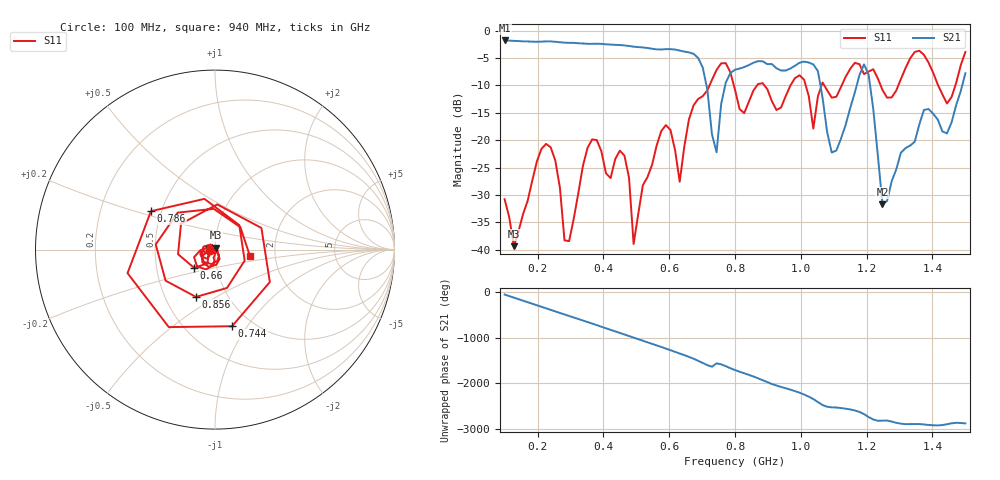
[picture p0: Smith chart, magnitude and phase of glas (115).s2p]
! NanoVNA-App
! Date: 2025-09-25 17:39:40
! Start: 100MHz Stop: 1,5GHz Points: 101
! S-Parameter data: F S11 S21 S12 S22
# Hz S RI R 50
!  Frequency  S11_Real  S11_Imag  S21_Real  S21_Imag  S12_Real  S12_Imag  S22_Real  S22_Imag
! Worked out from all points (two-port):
!   101 points, 100 MHz to 1.5 GHz, reference 50 ohm
!   highest |S21| = -1.80 dB at 100 MHz (marker M1); lowest = -31.7 dB at 1.248 GHz (marker M2)
!   |S21| within 3 dB of the highest: start of sweep to 684.6 MHz
!   lowest |S11| = -39.4 dB at 128 MHz (marker M3), VSWR 1.02, Z = 50.3 + j1.03 ohm
!   |S11| at or under -10 dB: start of sweep to 722.6 MHz; 796.5 MHz to 867.1 MHz (70.56 MHz wide, 8.48 % of centre); 889.3 MHz to 968.6 MHz (79.29 MHz wide, 8.54 % of centre)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
!   S12 and S22 are empty: the file has one direction only
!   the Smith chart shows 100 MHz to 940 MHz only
!   S11 on the Smith chart (normalised r, x): 100 MHz: 0.94, -0.01; 660 MHz: 0.78, -0.16; 744 MHz: 0.81, -0.85; 786 MHz: 0.44, +0.23; 856 MHz: 0.71, -0.41; 940 MHz: 1.48, -0.12
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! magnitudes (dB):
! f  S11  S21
! 100 MHz  -30.8  -1.8
! 128 MHz  -39.4  -1.9
! 212 MHz  -21.6  -2.0
! 282 MHz  -38.3  -2.2
! 338 MHz  -24.7  -2.3
! 464 MHz  -22.8  -2.7
! 492 MHz  -39.0  -2.9
! 576 MHz  -18.3  -3.4
! 632 MHz  -27.6  -3.6
! 660 MHz  -16.2  -4.0
! 744 MHz  -7.2  -22.2
! 786 MHz  -7.6  -7.7
! 800 MHz  -10.8  -7.1
! 856 MHz  -10.9  -5.9
! 940 MHz  -14.0  -7.3
! 996 MHz  -8.1  -5.9
! 1.038 GHz  -17.9  -6.2
! 1.094 GHz  -12.2  -22.3
! 1.192 GHz  -7.9  -6.1
! 1.248 GHz  -10.8  -31.7
! 1.276 GHz  -12.2  -27.5
! 1.5 GHz  -3.9  -7.8
